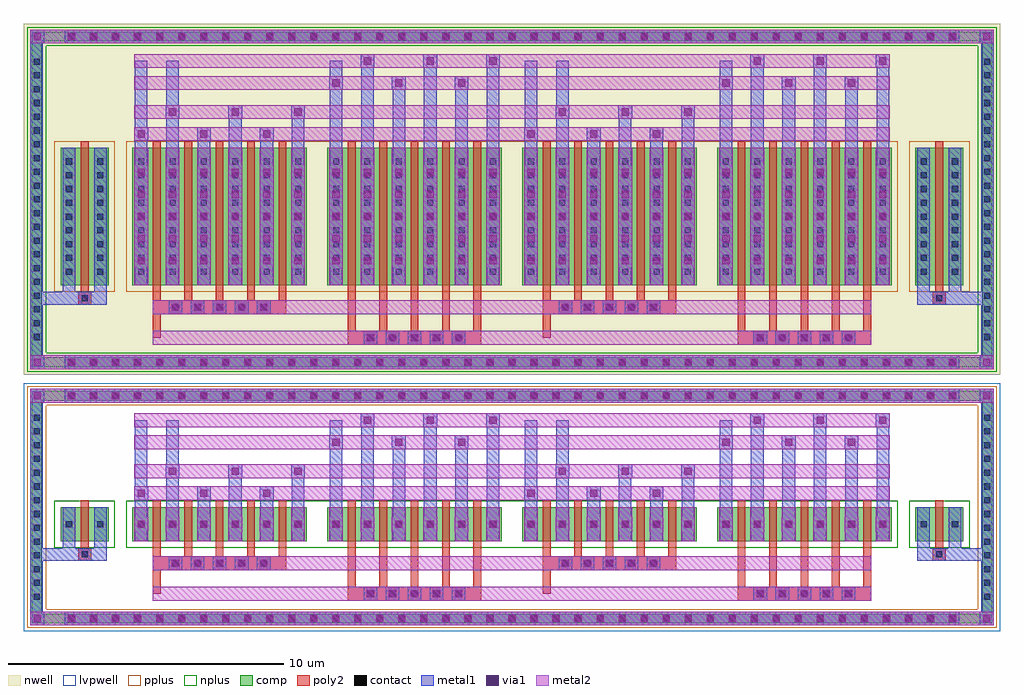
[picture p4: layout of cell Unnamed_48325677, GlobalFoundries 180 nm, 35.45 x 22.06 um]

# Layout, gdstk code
import gdstk
lib = gdstk.Library(unit=1e-6, precision=5e-09)
def R(c, l, rs):  # rectangles x0, y0, x1, y1
    for r in rs: c.add(gdstk.rectangle(r[:2], r[2:], *l))
def A(c, l, x, y, w, h, nx, ny, dx, dy):  # array of equal rectangles
    R(c, l, [(x+i*dx, y+j*dy, x+i*dx+w, y+j*dy+h) for i in range(nx) for j in range(ny)])
def P(c, l, *ps):  # polygons
    for p in ps: c.add(gdstk.Polygon(p, *l))
nwell = (21, 0)
comp = (22, 0)
poly2 = (30, 0)
pplus = (31, 0)
nplus = (32, 0)
contact = (33, 0)
metal1 = (34, 0)
via1 = (35, 0)
metal2 = (36, 0)
lvpwell = (204, 0)

unnamed_6d82a9da_1 = lib.new_cell('Unnamed_6d82a9da$1')
A(unnamed_6d82a9da_1, comp, -16.18, -6.095, 0.36, 0.36, 41, 2, 0.8, 11.83)
A(unnamed_6d82a9da_1, comp, -17.445, -5.18, 0.36, 0.36, 1, 21, 0, 0.5)
A(unnamed_6d82a9da_1, comp, 17.085, -5.18, 0.36, 0.36, 1, 21, 0, 0.5)
R(unnamed_6d82a9da_1, comp, [(-16.18,-6.095,16.18,-5.735), (-17.445,-5.18,-17.085,5.18), (17.085,-5.18,17.445,5.18), (-16.18,5.735,16.18,6.095)])
P(unnamed_6d82a9da_1, comp, [(-17.445,-6.095),(-17.445,-5.735),(-17.085,-5.735),(17.085,-5.735),(17.085,5.735),(-17.085,5.735),(-17.085,-5.735),(-17.445,-5.735),(-17.445,6.095),(17.445,6.095),(17.445,-6.095)])
P(unnamed_6d82a9da_1, nplus, [(-17.605,-6.255),(-17.605,-5.575),(-16.925,-5.575),(16.925,-5.575),(16.925,5.575),(-16.925,5.575),(-16.925,-5.575),(-17.605,-5.575),(-17.605,6.255),(17.605,6.255),(17.605,-6.255)])
A(unnamed_6d82a9da_1, contact, -16.11, -6.025, 0.22, 0.22, 41, 2, 0.8, 11.83)
A(unnamed_6d82a9da_1, contact, -17.375, -5.11, 0.22, 0.22, 1, 21, 0, 0.5)
A(unnamed_6d82a9da_1, contact, 17.155, -5.11, 0.22, 0.22, 1, 21, 0, 0.5)
A(unnamed_6d82a9da_1, metal1, -16.25, -6.165, 0.5, 0.5, 41, 2, 0.8, 11.83)
A(unnamed_6d82a9da_1, metal1, -17.495, -5.23, 0.46, 0.46, 1, 21, 0, 0.5)
A(unnamed_6d82a9da_1, metal1, 17.035, -5.23, 0.46, 0.46, 1, 21, 0, 0.5)
R(unnamed_6d82a9da_1, metal1, [(-17.495,-6.165,-16.995,-5.665), (-17.495,-6.165,-16.995,-5.665), (-17.495,-6.165,-17.035,-5.735), (-16.25,-6.165,16.25,-5.665), (16.995,-6.165,17.495,-5.665), (16.995,-6.165,17.495,-5.665), (17.035,-6.165,17.495,-5.735), (-17.495,-5.735,-17.035,5.735), (17.035,-5.735,17.495,5.735), (-17.495,5.665,-16.995,6.165), (-17.495,5.665,-16.995,6.165), (-16.25,5.665,16.25,6.165), (16.995,5.665,17.495,6.165), (16.995,5.665,17.495,6.165), (-17.495,5.735,-17.035,6.165), (17.035,5.735,17.495,6.165)])
A(unnamed_6d82a9da_1, via1, -16.13, -6.045, 0.26, 0.26, 41, 2, 0.8, 11.83)
R(unnamed_6d82a9da_1, via1, [(-17.375,-6.045,-17.115,-5.785), (17.115,-6.045,17.375,-5.785), (-17.375,5.785,-17.115,6.045), (17.115,5.785,17.375,6.045)])
A(unnamed_6d82a9da_1, metal2, -16.25, -6.165, 0.5, 0.5, 41, 2, 0.8, 11.83)
R(unnamed_6d82a9da_1, metal2, [(-17.495,-6.165,-17.085,-5.665), (-17.495,-6.165,-16.995,-5.665), (-17.495,-6.165,-16.995,-5.665), (-17.085,-6.165,17.085,-5.665), (16.995,-6.165,17.495,-5.665), (16.995,-6.165,17.495,-5.665), (17.085,-6.165,17.495,-5.665), (-17.495,5.665,-17.085,6.165), (-17.495,5.665,-16.995,6.165), (-17.495,5.665,-16.995,6.165), (-17.085,5.665,17.085,6.165), (16.995,5.665,17.495,6.165), (16.995,5.665,17.495,6.165), (17.085,5.665,17.495,6.165)])

straight_route_44f765c3 = lib.new_cell('straight_route_44f765c3')
R(straight_route_44f765c3, metal1, [(-17.495,-3.825,-15.75,-3.365)])

straight_route_fbd6fae3 = lib.new_cell('straight_route_fbd6fae3')
R(straight_route_fbd6fae3, metal1, [(15.75,-3.825,17.495,-3.365)])

transformed_b994aa91 = lib.new_cell('transformed_b994aa91')
R(transformed_b994aa91, nwell, [(-17.725,-6.375,17.725,6.375)])
A(transformed_b994aa91, comp, -13.79, -3.125, 6.34, 5, 4, 1, 7.08, 0)
R(transformed_b994aa91, comp, [(-16.39,-3.125,-14.65,1.875), (14.65,-3.125,16.39,1.875)])
A(transformed_b994aa91, poly2, -5.32, -5.205, 0.36, 0.36, 5, 1, 0.8, 0)
A(transformed_b994aa91, poly2, 8.84, -5.205, 0.36, 0.36, 5, 1, 0.8, 0)
A(transformed_b994aa91, poly2, -5.96, -4.775, 0.28, 1.41, 5, 1, 1.14, 0)
A(transformed_b994aa91, poly2, 8.2, -4.775, 0.28, 1.41, 5, 1, 1.14, 0)
A(transformed_b994aa91, poly2, -12.4, -4.095, 0.36, 0.36, 5, 1, 0.8, 0)
A(transformed_b994aa91, poly2, 1.76, -4.095, 0.36, 0.36, 5, 1, 0.8, 0)
A(transformed_b994aa91, poly2, -13.04, -3.665, 0.28, 0.3, 5, 1, 1.14, 0)
A(transformed_b994aa91, poly2, 1.12, -3.665, 0.28, 0.3, 5, 1, 1.14, 0)
A(transformed_b994aa91, poly2, -13.04, -3.365, 0.28, 5.48, 5, 1, 1.14, 0)
A(transformed_b994aa91, poly2, -5.96, -3.365, 0.28, 5.48, 5, 1, 1.14, 0)
A(transformed_b994aa91, poly2, 1.12, -3.365, 0.28, 5.48, 5, 1, 1.14, 0)
A(transformed_b994aa91, poly2, 8.2, -3.365, 0.28, 5.48, 5, 1, 1.14, 0)
R(transformed_b994aa91, poly2, [(-5.96,-5.275,-1.12,-4.775), (8.2,-5.275,13.04,-4.775), (-13.04,-5.025,-12.76,-3.365), (1.12,-5.025,1.4,-3.365), (-13.04,-4.165,-8.2,-3.665), (1.12,-4.165,5.96,-3.665), (-15.75,-3.825,-15.29,-3.365), (15.29,-3.825,15.75,-3.365), (-15.7,-3.775,-15.34,-3.415), (15.34,-3.775,15.7,-3.415), (-15.66,-3.365,-15.38,2.115), (15.38,-3.365,15.66,2.115)])
A(transformed_b994aa91, pplus, -14.02, -3.355, 6.8, 5.46, 4, 1, 7.08, 0)
R(transformed_b994aa91, pplus, [(-16.62,-3.355,-14.42,2.105), (-14.02,-3.355,14.02,2.105), (14.42,-3.355,16.62,2.105)])
A(transformed_b994aa91, contact, -5.25, -5.135, 0.22, 0.22, 5, 1, 0.8, 0)
A(transformed_b994aa91, contact, 8.91, -5.135, 0.22, 0.22, 5, 1, 0.8, 0)
A(transformed_b994aa91, contact, -12.33, -4.025, 0.22, 0.22, 5, 1, 0.8, 0)
A(transformed_b994aa91, contact, 1.83, -4.025, 0.22, 0.22, 5, 1, 0.8, 0)
A(transformed_b994aa91, contact, -16.2, -2.735, 0.22, 0.22, 1, 9, 0, 0.5)
A(transformed_b994aa91, contact, -15.06, -2.735, 0.22, 0.22, 1, 9, 0, 0.5)
A(transformed_b994aa91, contact, -13.58, -2.735, 0.22, 0.22, 6, 9, 1.14, 0.5)
A(transformed_b994aa91, contact, -6.5, -2.735, 0.22, 0.22, 6, 9, 1.14, 0.5)
A(transformed_b994aa91, contact, 0.58, -2.735, 0.22, 0.22, 6, 9, 1.14, 0.5)
A(transformed_b994aa91, contact, 7.66, -2.735, 0.22, 0.22, 6, 9, 1.14, 0.5)
A(transformed_b994aa91, contact, 14.84, -2.735, 0.22, 0.22, 1, 9, 0, 0.5)
A(transformed_b994aa91, contact, 15.98, -2.735, 0.22, 0.22, 1, 9, 0, 0.5)
R(transformed_b994aa91, contact, [(-15.63,-3.705,-15.41,-3.485), (15.41,-3.705,15.63,-3.485)])
A(transformed_b994aa91, metal1, -5.39, -5.275, 0.5, 0.5, 5, 1, 0.8, 0)
A(transformed_b994aa91, metal1, 8.77, -5.275, 0.5, 0.5, 5, 1, 0.8, 0)
A(transformed_b994aa91, metal1, -12.47, -4.165, 0.5, 0.5, 5, 1, 0.8, 0)
A(transformed_b994aa91, metal1, 1.69, -4.165, 0.5, 0.5, 5, 1, 0.8, 0)
A(transformed_b994aa91, metal1, -13.7, -3.125, 0.46, 5, 6, 1, 1.14, 0)
A(transformed_b994aa91, metal1, -6.62, -3.125, 0.46, 5, 6, 1, 1.14, 0)
A(transformed_b994aa91, metal1, 0.46, -3.125, 0.46, 5, 6, 1, 1.14, 0)
A(transformed_b994aa91, metal1, 7.54, -3.125, 0.46, 5, 6, 1, 1.14, 0)
A(transformed_b994aa91, metal1, -16.32, -2.855, 0.46, 0.46, 1, 9, 0, 0.5)
A(transformed_b994aa91, metal1, -15.18, -2.855, 0.46, 0.46, 1, 9, 0, 0.5)
A(transformed_b994aa91, metal1, -13.7, -2.855, 0.46, 0.46, 6, 9, 1.14, 0.5)
A(transformed_b994aa91, metal1, -6.62, -2.855, 0.46, 0.46, 6, 9, 1.14, 0.5)
A(transformed_b994aa91, metal1, 0.46, -2.855, 0.46, 0.46, 6, 9, 1.14, 0.5)
A(transformed_b994aa91, metal1, 7.54, -2.855, 0.46, 0.46, 6, 9, 1.14, 0.5)
A(transformed_b994aa91, metal1, 14.72, -2.855, 0.46, 0.46, 1, 9, 0, 0.5)
A(transformed_b994aa91, metal1, 15.86, -2.855, 0.46, 0.46, 1, 9, 0, 0.5)
A(transformed_b994aa91, metal1, -13.72, -2.475, 0.5, 0.5, 6, 5, 1.14, 0.8)
A(transformed_b994aa91, metal1, -13.72, -2.475, 0.5, 3.7, 6, 1, 1.14, 0)
A(transformed_b994aa91, metal1, -6.64, -2.475, 0.5, 0.5, 6, 5, 1.14, 0.8)
A(transformed_b994aa91, metal1, -6.64, -2.475, 0.5, 3.7, 6, 1, 1.14, 0)
A(transformed_b994aa91, metal1, 0.44, -2.475, 0.5, 0.5, 6, 5, 1.14, 0.8)
A(transformed_b994aa91, metal1, 0.44, -2.475, 0.5, 3.7, 6, 1, 1.14, 0)
A(transformed_b994aa91, metal1, 7.52, -2.475, 0.5, 0.5, 6, 5, 1.14, 0.8)
A(transformed_b994aa91, metal1, 7.52, -2.475, 0.5, 3.7, 6, 1, 1.14, 0)
A(transformed_b994aa91, metal1, -13.7, 1.875, 0.46, 0.75, 3, 1, 2.28, 0)
A(transformed_b994aa91, metal1, -12.56, 1.875, 0.46, 1.55, 3, 1, 2.28, 0)
A(transformed_b994aa91, metal1, -6.62, 1.875, 0.46, 2.6, 3, 1, 2.28, 0)
A(transformed_b994aa91, metal1, -5.48, 1.875, 0.46, 3.4, 3, 1, 2.28, 0)
A(transformed_b994aa91, metal1, 0.46, 1.875, 0.46, 0.75, 3, 1, 2.28, 0)
A(transformed_b994aa91, metal1, 1.6, 1.875, 0.46, 1.55, 3, 1, 2.28, 0)
A(transformed_b994aa91, metal1, 7.54, 1.875, 0.46, 2.6, 3, 1, 2.28, 0)
A(transformed_b994aa91, metal1, 8.68, 1.875, 0.46, 3.4, 3, 1, 2.28, 0)
A(transformed_b994aa91, metal1, -13.72, 2.125, 0.5, 0.5, 3, 1, 2.28, 0)
A(transformed_b994aa91, metal1, 0.44, 2.125, 0.5, 0.5, 3, 1, 2.28, 0)
A(transformed_b994aa91, metal1, -12.58, 2.925, 0.5, 0.5, 3, 1, 2.28, 0)
A(transformed_b994aa91, metal1, 1.58, 2.925, 0.5, 0.5, 3, 1, 2.28, 0)
A(transformed_b994aa91, metal1, -6.64, 3.975, 0.5, 0.5, 3, 1, 2.28, 0)
A(transformed_b994aa91, metal1, 7.52, 3.975, 0.5, 0.5, 3, 1, 2.28, 0)
A(transformed_b994aa91, metal1, -5.5, 4.775, 0.5, 0.5, 3, 1, 2.28, 0)
A(transformed_b994aa91, metal1, 8.66, 4.775, 0.5, 0.5, 3, 1, 2.28, 0)
R(transformed_b994aa91, metal1, [(-16.32,-3.825,-15.75,-3.365), (-16.32,-3.825,-15.86,-3.125), (-15.75,-3.825,-15.29,-3.365), (-15.29,-3.825,-14.72,-3.365), (-15.18,-3.825,-14.72,-3.125), (14.72,-3.825,15.29,-3.365), (14.72,-3.825,15.18,-3.125), (15.29,-3.825,15.75,-3.365), (15.75,-3.825,16.32,-3.365), (15.86,-3.825,16.32,-3.125), (-16.32,-3.125,-15.86,1.875), (-15.18,-3.125,-14.72,1.875), (14.72,-3.125,15.18,1.875), (15.86,-3.125,16.32,1.875), (-13.7,1.875,-13.24,5.025), (-12.56,1.875,-12.1,5.025), (-6.62,1.875,-6.16,5.025), (-5.48,1.875,-5.02,5.025), (0.46,1.875,0.92,5.025), (1.6,1.875,2.06,5.025), (7.54,1.875,8,5.025), (8.68,1.875,9.14,5.025)])
A(transformed_b994aa91, via1, -5.27, -5.155, 0.26, 0.26, 5, 1, 0.8, 0)
A(transformed_b994aa91, via1, 8.89, -5.155, 0.26, 0.26, 5, 1, 0.8, 0)
A(transformed_b994aa91, via1, -12.35, -4.045, 0.26, 0.26, 5, 1, 0.8, 0)
A(transformed_b994aa91, via1, 1.81, -4.045, 0.26, 0.26, 5, 1, 0.8, 0)
A(transformed_b994aa91, via1, -13.6, -2.355, 0.26, 0.26, 6, 5, 1.14, 0.8)
A(transformed_b994aa91, via1, -6.52, -2.355, 0.26, 0.26, 6, 5, 1.14, 0.8)
A(transformed_b994aa91, via1, 0.56, -2.355, 0.26, 0.26, 6, 5, 1.14, 0.8)
A(transformed_b994aa91, via1, 7.64, -2.355, 0.26, 0.26, 6, 5, 1.14, 0.8)
A(transformed_b994aa91, via1, -13.6, 2.245, 0.26, 0.26, 3, 1, 2.28, 0)
A(transformed_b994aa91, via1, 0.56, 2.245, 0.26, 0.26, 3, 1, 2.28, 0)
A(transformed_b994aa91, via1, -12.46, 3.045, 0.26, 0.26, 3, 1, 2.28, 0)
A(transformed_b994aa91, via1, 1.7, 3.045, 0.26, 0.26, 3, 1, 2.28, 0)
A(transformed_b994aa91, via1, -6.52, 4.095, 0.26, 0.26, 3, 1, 2.28, 0)
A(transformed_b994aa91, via1, 7.64, 4.095, 0.26, 0.26, 3, 1, 2.28, 0)
A(transformed_b994aa91, via1, -5.38, 4.895, 0.26, 0.26, 3, 1, 2.28, 0)
A(transformed_b994aa91, via1, 8.78, 4.895, 0.26, 0.26, 3, 1, 2.28, 0)
A(transformed_b994aa91, metal2, -5.39, -5.275, 0.5, 0.5, 5, 1, 0.8, 0)
A(transformed_b994aa91, metal2, 8.77, -5.275, 0.5, 0.5, 5, 1, 0.8, 0)
A(transformed_b994aa91, metal2, -12.47, -4.165, 0.5, 0.5, 5, 1, 0.8, 0)
A(transformed_b994aa91, metal2, 1.69, -4.165, 0.5, 0.5, 5, 1, 0.8, 0)
A(transformed_b994aa91, metal2, -13.72, -3.125, 0.5, 5, 6, 1, 1.14, 0)
A(transformed_b994aa91, metal2, -6.64, -3.125, 0.5, 5, 6, 1, 1.14, 0)
A(transformed_b994aa91, metal2, 0.44, -3.125, 0.5, 5, 6, 1, 1.14, 0)
A(transformed_b994aa91, metal2, 7.52, -3.125, 0.5, 5, 6, 1, 1.14, 0)
A(transformed_b994aa91, metal2, -13.72, -2.475, 0.5, 0.5, 6, 5, 1.14, 0.8)
A(transformed_b994aa91, metal2, -6.64, -2.475, 0.5, 0.5, 6, 5, 1.14, 0.8)
A(transformed_b994aa91, metal2, 0.44, -2.475, 0.5, 0.5, 6, 5, 1.14, 0.8)
A(transformed_b994aa91, metal2, 7.52, -2.475, 0.5, 0.5, 6, 5, 1.14, 0.8)
A(transformed_b994aa91, metal2, -13.72, 2.125, 0.5, 0.5, 3, 1, 2.28, 0)
A(transformed_b994aa91, metal2, 0.44, 2.125, 0.5, 0.5, 3, 1, 2.28, 0)
A(transformed_b994aa91, metal2, -12.58, 2.925, 0.5, 0.5, 3, 1, 2.28, 0)
A(transformed_b994aa91, metal2, 1.58, 2.925, 0.5, 0.5, 3, 1, 2.28, 0)
A(transformed_b994aa91, metal2, -6.64, 3.975, 0.5, 0.5, 3, 1, 2.28, 0)
A(transformed_b994aa91, metal2, 7.52, 3.975, 0.5, 0.5, 3, 1, 2.28, 0)
A(transformed_b994aa91, metal2, -5.5, 4.775, 0.5, 0.5, 3, 1, 2.28, 0)
A(transformed_b994aa91, metal2, 8.66, 4.775, 0.5, 0.5, 3, 1, 2.28, 0)
R(transformed_b994aa91, metal2, [(-13.04,-5.275,13.04,-4.775), (-5.96,-5.275,-1.12,-4.775), (8.2,-5.275,13.04,-4.775), (-13.04,-4.165,13.04,-3.665), (-13.04,-4.165,-8.2,-3.665), (1.12,-4.165,5.96,-3.665), (-13.72,2.125,13.72,2.625), (-13.72,2.125,-7.52,2.625), (0.44,2.125,6.64,2.625), (-13.72,2.925,13.72,3.425), (-13.72,2.925,-7.52,3.425), (0.44,2.925,6.64,3.425), (-13.72,3.975,13.72,4.475), (-6.64,3.975,-0.44,4.475), (7.52,3.975,13.72,4.475), (-13.72,4.775,13.72,5.275), (-6.64,4.775,-0.44,5.275), (7.52,4.775,13.72,5.275)])
transformed_b994aa91.add(gdstk.Reference(unnamed_6d82a9da_1, (0,0)))
transformed_b994aa91.add(gdstk.Reference(straight_route_44f765c3, (0,0)))
transformed_b994aa91.add(gdstk.Reference(straight_route_fbd6fae3, (0,0)))

unnamed_c2bba884_1 = lib.new_cell('Unnamed_c2bba884$1')
A(unnamed_c2bba884_1, comp, -16.18, -4.225, 0.36, 0.36, 41, 2, 0.8, 8.09)
A(unnamed_c2bba884_1, comp, -17.445, -3.43, 0.36, 0.36, 1, 14, 0, 0.5)
A(unnamed_c2bba884_1, comp, 17.085, -3.43, 0.36, 0.36, 1, 14, 0, 0.5)
R(unnamed_c2bba884_1, comp, [(-16.18,-4.225,16.18,-3.865), (-17.445,-3.43,-17.085,3.43), (17.085,-3.43,17.445,3.43), (-16.18,3.865,16.18,4.225)])
P(unnamed_c2bba884_1, comp, [(-17.445,-4.225),(-17.445,-3.865),(-17.085,-3.865),(17.085,-3.865),(17.085,3.865),(-17.085,3.865),(-17.085,-3.865),(-17.445,-3.865),(-17.445,4.225),(17.445,4.225),(17.445,-4.225)])
P(unnamed_c2bba884_1, pplus, [(-17.605,-4.385),(-17.605,-3.705),(-16.925,-3.705),(16.925,-3.705),(16.925,3.705),(-16.925,3.705),(-16.925,-3.705),(-17.605,-3.705),(-17.605,4.385),(17.605,4.385),(17.605,-4.385)])
A(unnamed_c2bba884_1, contact, -16.11, -4.155, 0.22, 0.22, 41, 2, 0.8, 8.09)
A(unnamed_c2bba884_1, contact, -17.375, -3.36, 0.22, 0.22, 1, 14, 0, 0.5)
A(unnamed_c2bba884_1, contact, 17.155, -3.36, 0.22, 0.22, 1, 14, 0, 0.5)
A(unnamed_c2bba884_1, metal1, -16.25, -4.295, 0.5, 0.5, 41, 2, 0.8, 8.09)
A(unnamed_c2bba884_1, metal1, -17.495, -3.48, 0.46, 0.46, 1, 14, 0, 0.5)
A(unnamed_c2bba884_1, metal1, 17.035, -3.48, 0.46, 0.46, 1, 14, 0, 0.5)
R(unnamed_c2bba884_1, metal1, [(-17.495,-4.295,-16.995,-3.795), (-17.495,-4.295,-16.995,-3.795), (-17.495,-4.295,-17.035,-3.865), (-16.25,-4.295,16.25,-3.795), (16.995,-4.295,17.495,-3.795), (16.995,-4.295,17.495,-3.795), (17.035,-4.295,17.495,-3.865), (-17.495,-3.865,-17.035,3.865), (17.035,-3.865,17.495,3.865), (-17.495,3.795,-16.995,4.295), (-17.495,3.795,-16.995,4.295), (-16.25,3.795,16.25,4.295), (16.995,3.795,17.495,4.295), (16.995,3.795,17.495,4.295), (-17.495,3.865,-17.035,4.295), (17.035,3.865,17.495,4.295)])
A(unnamed_c2bba884_1, via1, -16.13, -4.175, 0.26, 0.26, 41, 2, 0.8, 8.09)
R(unnamed_c2bba884_1, via1, [(-17.375,-4.175,-17.115,-3.915), (17.115,-4.175,17.375,-3.915), (-17.375,3.915,-17.115,4.175), (17.115,3.915,17.375,4.175)])
A(unnamed_c2bba884_1, metal2, -16.25, -4.295, 0.5, 0.5, 41, 2, 0.8, 8.09)
R(unnamed_c2bba884_1, metal2, [(-17.495,-4.295,-17.085,-3.795), (-17.495,-4.295,-16.995,-3.795), (-17.495,-4.295,-16.995,-3.795), (-17.085,-4.295,17.085,-3.795), (16.995,-4.295,17.495,-3.795), (16.995,-4.295,17.495,-3.795), (17.085,-4.295,17.495,-3.795), (-17.495,3.795,-17.085,4.295), (-17.495,3.795,-16.995,4.295), (-17.495,3.795,-16.995,4.295), (-17.085,3.795,17.085,4.295), (16.995,3.795,17.495,4.295), (16.995,3.795,17.495,4.295), (17.085,3.795,17.495,4.295)])

straight_route_102d31af = lib.new_cell('straight_route_102d31af')
R(straight_route_102d31af, metal1, [(-17.495,-1.945,-15.75,-1.485)])

straight_route_ea3723e6 = lib.new_cell('straight_route_ea3723e6')
R(straight_route_ea3723e6, metal1, [(15.75,-1.945,17.495,-1.485)])

transformed_c1d7bc20 = lib.new_cell('transformed_c1d7bc20')
A(transformed_c1d7bc20, comp, -13.79, -1.245, 6.34, 1.25, 4, 1, 7.08, 0)
R(transformed_c1d7bc20, comp, [(-16.39,-1.245,-14.65,0.005), (14.65,-1.245,16.39,0.005)])
A(transformed_c1d7bc20, poly2, -5.32, -3.33, 0.36, 0.36, 5, 1, 0.8, 0)
A(transformed_c1d7bc20, poly2, 8.84, -3.33, 0.36, 0.36, 5, 1, 0.8, 0)
A(transformed_c1d7bc20, poly2, -5.96, -2.9, 0.28, 1.415, 5, 1, 1.14, 0)
A(transformed_c1d7bc20, poly2, 8.2, -2.9, 0.28, 1.415, 5, 1, 1.14, 0)
A(transformed_c1d7bc20, poly2, -12.4, -2.22, 0.36, 0.36, 5, 1, 0.8, 0)
A(transformed_c1d7bc20, poly2, 1.76, -2.22, 0.36, 0.36, 5, 1, 0.8, 0)
A(transformed_c1d7bc20, poly2, -13.04, -1.79, 0.28, 0.305, 5, 1, 1.14, 0)
A(transformed_c1d7bc20, poly2, 1.12, -1.79, 0.28, 0.305, 5, 1, 1.14, 0)
A(transformed_c1d7bc20, poly2, -13.04, -1.485, 0.28, 1.73, 5, 1, 1.14, 0)
A(transformed_c1d7bc20, poly2, -5.96, -1.485, 0.28, 1.73, 5, 1, 1.14, 0)
A(transformed_c1d7bc20, poly2, 1.12, -1.485, 0.28, 1.73, 5, 1, 1.14, 0)
A(transformed_c1d7bc20, poly2, 8.2, -1.485, 0.28, 1.73, 5, 1, 1.14, 0)
R(transformed_c1d7bc20, poly2, [(-5.96,-3.4,-1.12,-2.9), (8.2,-3.4,13.04,-2.9), (-13.04,-3.15,-12.76,-1.485), (1.12,-3.15,1.4,-1.485), (-13.04,-2.29,-8.2,-1.79), (1.12,-2.29,5.96,-1.79), (-15.75,-1.945,-15.29,-1.485), (15.29,-1.945,15.75,-1.485), (-15.7,-1.895,-15.34,-1.535), (15.34,-1.895,15.7,-1.535), (-15.66,-1.485,-15.38,0.245), (15.38,-1.485,15.66,0.245)])
A(transformed_c1d7bc20, nplus, -14.02, -1.475, 6.8, 1.71, 4, 1, 7.08, 0)
R(transformed_c1d7bc20, nplus, [(-16.62,-1.475,-14.42,0.235), (-14.02,-1.475,14.02,0.235), (14.42,-1.475,16.62,0.235)])
A(transformed_c1d7bc20, contact, -5.25, -3.26, 0.22, 0.22, 5, 1, 0.8, 0)
A(transformed_c1d7bc20, contact, 8.91, -3.26, 0.22, 0.22, 5, 1, 0.8, 0)
A(transformed_c1d7bc20, contact, -12.33, -2.15, 0.22, 0.22, 5, 1, 0.8, 0)
A(transformed_c1d7bc20, contact, 1.83, -2.15, 0.22, 0.22, 5, 1, 0.8, 0)
A(transformed_c1d7bc20, contact, -13.58, -0.73, 0.22, 0.22, 6, 1, 1.14, 0)
A(transformed_c1d7bc20, contact, -6.5, -0.73, 0.22, 0.22, 6, 1, 1.14, 0)
A(transformed_c1d7bc20, contact, 0.58, -0.73, 0.22, 0.22, 6, 1, 1.14, 0)
A(transformed_c1d7bc20, contact, 7.66, -0.73, 0.22, 0.22, 6, 1, 1.14, 0)
R(transformed_c1d7bc20, contact, [(-15.63,-1.825,-15.41,-1.605), (15.41,-1.825,15.63,-1.605), (-16.2,-0.73,-15.98,-0.51), (-15.06,-0.73,-14.84,-0.51), (14.84,-0.73,15.06,-0.51), (15.98,-0.73,16.2,-0.51)])
A(transformed_c1d7bc20, metal1, -5.39, -3.4, 0.5, 0.5, 5, 1, 0.8, 0)
A(transformed_c1d7bc20, metal1, 8.77, -3.4, 0.5, 0.5, 5, 1, 0.8, 0)
A(transformed_c1d7bc20, metal1, -12.47, -2.29, 0.5, 0.5, 5, 1, 0.8, 0)
A(transformed_c1d7bc20, metal1, 1.69, -2.29, 0.5, 0.5, 5, 1, 0.8, 0)
A(transformed_c1d7bc20, metal1, -13.7, -1.245, 0.46, 1.25, 6, 1, 1.14, 0)
A(transformed_c1d7bc20, metal1, -6.62, -1.245, 0.46, 1.25, 6, 1, 1.14, 0)
A(transformed_c1d7bc20, metal1, 0.46, -1.245, 0.46, 1.25, 6, 1, 1.14, 0)
A(transformed_c1d7bc20, metal1, 7.54, -1.245, 0.46, 1.25, 6, 1, 1.14, 0)
A(transformed_c1d7bc20, metal1, -13.7, -0.85, 0.46, 0.46, 6, 1, 1.14, 0)
A(transformed_c1d7bc20, metal1, -6.62, -0.85, 0.46, 0.46, 6, 1, 1.14, 0)
A(transformed_c1d7bc20, metal1, 0.46, -0.85, 0.46, 0.46, 6, 1, 1.14, 0)
A(transformed_c1d7bc20, metal1, 7.54, -0.85, 0.46, 0.46, 6, 1, 1.14, 0)
A(transformed_c1d7bc20, metal1, -13.7, 0.005, 0.46, 0.75, 3, 1, 2.28, 0)
A(transformed_c1d7bc20, metal1, -12.56, 0.005, 0.46, 1.55, 3, 1, 2.28, 0)
A(transformed_c1d7bc20, metal1, -6.62, 0.005, 0.46, 2.6, 3, 1, 2.28, 0)
A(transformed_c1d7bc20, metal1, -5.48, 0.005, 0.46, 3.4, 3, 1, 2.28, 0)
A(transformed_c1d7bc20, metal1, 0.46, 0.005, 0.46, 0.75, 3, 1, 2.28, 0)
A(transformed_c1d7bc20, metal1, 1.6, 0.005, 0.46, 1.55, 3, 1, 2.28, 0)
A(transformed_c1d7bc20, metal1, 7.54, 0.005, 0.46, 2.6, 3, 1, 2.28, 0)
A(transformed_c1d7bc20, metal1, 8.68, 0.005, 0.46, 3.4, 3, 1, 2.28, 0)
A(transformed_c1d7bc20, metal1, -13.72, 0.255, 0.5, 0.5, 3, 1, 2.28, 0)
A(transformed_c1d7bc20, metal1, 0.44, 0.255, 0.5, 0.5, 3, 1, 2.28, 0)
A(transformed_c1d7bc20, metal1, -12.58, 1.055, 0.5, 0.5, 3, 1, 2.28, 0)
A(transformed_c1d7bc20, metal1, 1.58, 1.055, 0.5, 0.5, 3, 1, 2.28, 0)
A(transformed_c1d7bc20, metal1, -6.64, 2.105, 0.5, 0.5, 3, 1, 2.28, 0)
A(transformed_c1d7bc20, metal1, 7.52, 2.105, 0.5, 0.5, 3, 1, 2.28, 0)
A(transformed_c1d7bc20, metal1, -5.5, 2.905, 0.5, 0.5, 3, 1, 2.28, 0)
A(transformed_c1d7bc20, metal1, 8.66, 2.905, 0.5, 0.5, 3, 1, 2.28, 0)
R(transformed_c1d7bc20, metal1, [(-16.32,-1.945,-15.75,-1.485), (-16.32,-1.945,-15.86,-1.245), (-15.75,-1.945,-15.29,-1.485), (-15.29,-1.945,-14.72,-1.485), (-15.18,-1.945,-14.72,-1.245), (14.72,-1.945,15.29,-1.485), (14.72,-1.945,15.18,-1.245), (15.29,-1.945,15.75,-1.485), (15.75,-1.945,16.32,-1.485), (15.86,-1.945,16.32,-1.245), (-16.32,-1.245,-15.86,0.005), (-15.18,-1.245,-14.72,0.005), (14.72,-1.245,15.18,0.005), (15.86,-1.245,16.32,0.005), (-13.72,-0.87,-13.22,-0.37), (-13.72,-0.87,-13.22,-0.37), (-12.58,-0.87,-12.08,-0.37), (-12.58,-0.87,-12.08,-0.37), (-11.44,-0.87,-10.94,-0.37), (-11.44,-0.87,-10.94,-0.37), (-10.3,-0.87,-9.8,-0.37), (-10.3,-0.87,-9.8,-0.37), (-9.16,-0.87,-8.66,-0.37), (-9.16,-0.87,-8.66,-0.37), (-8.02,-0.87,-7.52,-0.37), (-8.02,-0.87,-7.52,-0.37), (-6.64,-0.87,-6.14,-0.37), (-6.64,-0.87,-6.14,-0.37), (-5.5,-0.87,-5,-0.37), (-5.5,-0.87,-5,-0.37), (-4.36,-0.87,-3.86,-0.37), (-4.36,-0.87,-3.86,-0.37), (-3.22,-0.87,-2.72,-0.37), (-3.22,-0.87,-2.72,-0.37), (-2.08,-0.87,-1.58,-0.37), (-2.08,-0.87,-1.58,-0.37), (-0.94,-0.87,-0.44,-0.37), (-0.94,-0.87,-0.44,-0.37), (0.44,-0.87,0.94,-0.37), (0.44,-0.87,0.94,-0.37), (1.58,-0.87,2.08,-0.37), (1.58,-0.87,2.08,-0.37), (2.72,-0.87,3.22,-0.37), (2.72,-0.87,3.22,-0.37), (3.86,-0.87,4.36,-0.37), (3.86,-0.87,4.36,-0.37), (5,-0.87,5.5,-0.37), (5,-0.87,5.5,-0.37), (6.14,-0.87,6.64,-0.37), (6.14,-0.87,6.64,-0.37), (7.52,-0.87,8.02,-0.37), (7.52,-0.87,8.02,-0.37), (8.66,-0.87,9.16,-0.37), (8.66,-0.87,9.16,-0.37), (9.8,-0.87,10.3,-0.37), (9.8,-0.87,10.3,-0.37), (10.94,-0.87,11.44,-0.37), (10.94,-0.87,11.44,-0.37), (12.08,-0.87,12.58,-0.37), (12.08,-0.87,12.58,-0.37), (13.22,-0.87,13.72,-0.37), (13.22,-0.87,13.72,-0.37), (-16.32,-0.85,-15.86,-0.39), (-15.18,-0.85,-14.72,-0.39), (14.72,-0.85,15.18,-0.39), (15.86,-0.85,16.32,-0.39), (-13.7,0.005,-13.24,3.155), (-12.56,0.005,-12.1,3.155), (-6.62,0.005,-6.16,3.155), (-5.48,0.005,-5.02,3.155), (0.46,0.005,0.92,3.155), (1.6,0.005,2.06,3.155), (7.54,0.005,8,3.155), (8.68,0.005,9.14,3.155)])
A(transformed_c1d7bc20, via1, -5.27, -3.28, 0.26, 0.26, 5, 1, 0.8, 0)
A(transformed_c1d7bc20, via1, 8.89, -3.28, 0.26, 0.26, 5, 1, 0.8, 0)
A(transformed_c1d7bc20, via1, -12.35, -2.17, 0.26, 0.26, 5, 1, 0.8, 0)
A(transformed_c1d7bc20, via1, 1.81, -2.17, 0.26, 0.26, 5, 1, 0.8, 0)
A(transformed_c1d7bc20, via1, -13.6, -0.75, 0.26, 0.26, 6, 1, 1.14, 0)
A(transformed_c1d7bc20, via1, -6.52, -0.75, 0.26, 0.26, 6, 1, 1.14, 0)
A(transformed_c1d7bc20, via1, 0.56, -0.75, 0.26, 0.26, 6, 1, 1.14, 0)
A(transformed_c1d7bc20, via1, 7.64, -0.75, 0.26, 0.26, 6, 1, 1.14, 0)
A(transformed_c1d7bc20, via1, -13.6, 0.375, 0.26, 0.26, 3, 1, 2.28, 0)
A(transformed_c1d7bc20, via1, 0.56, 0.375, 0.26, 0.26, 3, 1, 2.28, 0)
A(transformed_c1d7bc20, via1, -12.46, 1.175, 0.26, 0.26, 3, 1, 2.28, 0)
A(transformed_c1d7bc20, via1, 1.7, 1.175, 0.26, 0.26, 3, 1, 2.28, 0)
A(transformed_c1d7bc20, via1, -6.52, 2.225, 0.26, 0.26, 3, 1, 2.28, 0)
A(transformed_c1d7bc20, via1, 7.64, 2.225, 0.26, 0.26, 3, 1, 2.28, 0)
A(transformed_c1d7bc20, via1, -5.38, 3.025, 0.26, 0.26, 3, 1, 2.28, 0)
A(transformed_c1d7bc20, via1, 8.78, 3.025, 0.26, 0.26, 3, 1, 2.28, 0)
A(transformed_c1d7bc20, metal2, -5.39, -3.4, 0.5, 0.5, 5, 1, 0.8, 0)
A(transformed_c1d7bc20, metal2, 8.77, -3.4, 0.5, 0.5, 5, 1, 0.8, 0)
A(transformed_c1d7bc20, metal2, -12.47, -2.29, 0.5, 0.5, 5, 1, 0.8, 0)
A(transformed_c1d7bc20, metal2, 1.69, -2.29, 0.5, 0.5, 5, 1, 0.8, 0)
A(transformed_c1d7bc20, metal2, -13.72, -1.245, 0.5, 1.25, 6, 1, 1.14, 0)
A(transformed_c1d7bc20, metal2, -6.64, -1.245, 0.5, 1.25, 6, 1, 1.14, 0)
A(transformed_c1d7bc20, metal2, 0.44, -1.245, 0.5, 1.25, 6, 1, 1.14, 0)
A(transformed_c1d7bc20, metal2, 7.52, -1.245, 0.5, 1.25, 6, 1, 1.14, 0)
A(transformed_c1d7bc20, metal2, -13.72, -0.87, 0.5, 0.5, 6, 1, 1.14, 0)
A(transformed_c1d7bc20, metal2, -6.64, -0.87, 0.5, 0.5, 6, 1, 1.14, 0)
A(transformed_c1d7bc20, metal2, 0.44, -0.87, 0.5, 0.5, 6, 1, 1.14, 0)
A(transformed_c1d7bc20, metal2, 7.52, -0.87, 0.5, 0.5, 6, 1, 1.14, 0)
A(transformed_c1d7bc20, metal2, -13.72, 0.255, 0.5, 0.5, 3, 1, 2.28, 0)
A(transformed_c1d7bc20, metal2, 0.44, 0.255, 0.5, 0.5, 3, 1, 2.28, 0)
A(transformed_c1d7bc20, metal2, -12.58, 1.055, 0.5, 0.5, 3, 1, 2.28, 0)
A(transformed_c1d7bc20, metal2, 1.58, 1.055, 0.5, 0.5, 3, 1, 2.28, 0)
A(transformed_c1d7bc20, metal2, -6.64, 2.105, 0.5, 0.5, 3, 1, 2.28, 0)
A(transformed_c1d7bc20, metal2, 7.52, 2.105, 0.5, 0.5, 3, 1, 2.28, 0)
A(transformed_c1d7bc20, metal2, -5.5, 2.905, 0.5, 0.5, 3, 1, 2.28, 0)
A(transformed_c1d7bc20, metal2, 8.66, 2.905, 0.5, 0.5, 3, 1, 2.28, 0)
R(transformed_c1d7bc20, metal2, [(-13.04,-3.4,13.04,-2.9), (-5.96,-3.4,-1.12,-2.9), (8.2,-3.4,13.04,-2.9), (-13.04,-2.29,13.04,-1.79), (-13.04,-2.29,-8.2,-1.79), (1.12,-2.29,5.96,-1.79), (-13.72,0.255,13.72,0.755), (-13.72,0.255,-7.52,0.755), (0.44,0.255,6.64,0.755), (-13.72,1.055,13.72,1.555), (-13.72,1.055,-7.52,1.555), (0.44,1.055,6.64,1.555), (-13.72,2.105,13.72,2.605), (-6.64,2.105,-0.44,2.605), (7.52,2.105,13.72,2.605), (-13.72,2.905,13.72,3.405), (-6.64,2.905,-0.44,3.405), (7.52,2.905,13.72,3.405)])
R(transformed_c1d7bc20, lvpwell, [(-17.725,-4.505,17.725,4.505)])
transformed_c1d7bc20.add(gdstk.Reference(unnamed_c2bba884_1, (0,0)))
transformed_c1d7bc20.add(gdstk.Reference(straight_route_102d31af, (0,0)))
transformed_c1d7bc20.add(gdstk.Reference(straight_route_ea3723e6, (0,0)))

unnamed_48325677 = lib.new_cell('Unnamed_48325677')
unnamed_48325677.add(gdstk.Reference(transformed_b994aa91, (0,11.18)))
unnamed_48325677.add(gdstk.Reference(transformed_c1d7bc20, (0,0)))

lib.write_gds('Unnamed_48325677.gds')
